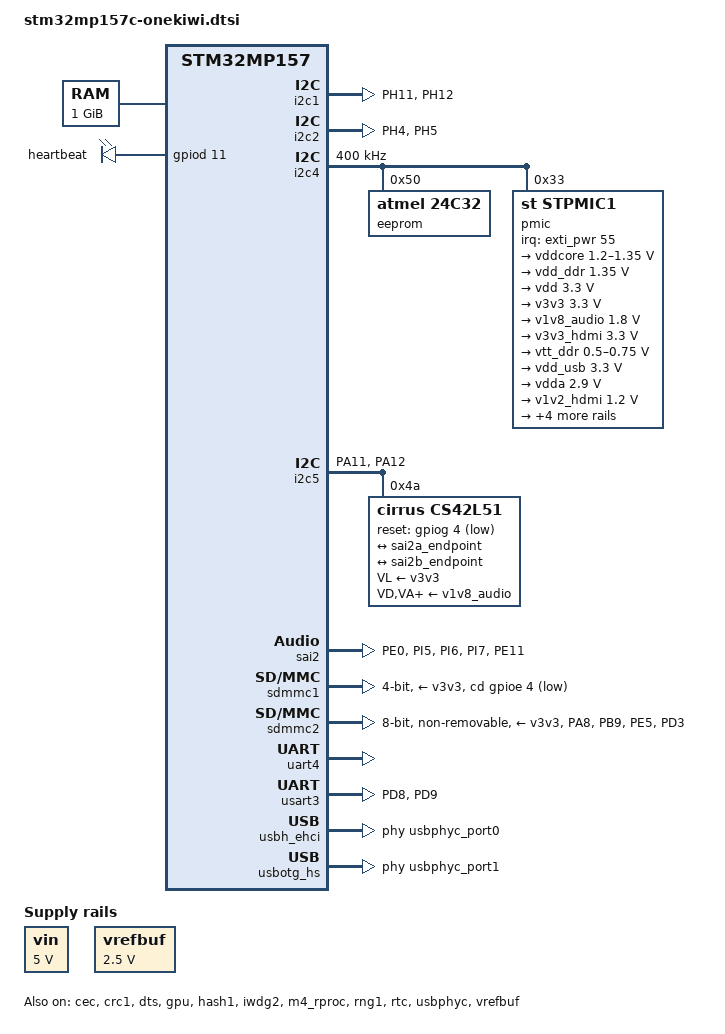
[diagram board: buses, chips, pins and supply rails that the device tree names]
// SPDX-License-Identifier: (GPL-2.0+ OR BSD-3-Clause)
/*
 * Copyright (C) STMicroelectronics 2019 - All Rights Reserved
 * Author: Alexandre Torgue <alexandre.torgue@st.com> for STMicroelectronics.
 */

#include "stm32mp157-m4-srm.dtsi"
#include "stm32mp157-m4-srm-pinctrl.dtsi"
#include <dt-bindings/mfd/st,stpmic1.h>

/ {
	memory@c0000000 {
		device_type = "memory";
		reg = <0xc0000000 0x40000000>;
	};

	reserved-memory {
		#address-cells = <1>;
		#size-cells = <1>;
		ranges;

		mcuram2: mcuram2@10000000 {
			compatible = "shared-dma-pool";
			reg = <0x10000000 0x40000>;
			no-map;
		};

		vdev0vring0: vdev0vring0@10040000 {
			compatible = "shared-dma-pool";
			reg = <0x10040000 0x1000>;
			no-map;
		};

		vdev0vring1: vdev0vring1@10041000 {
			compatible = "shared-dma-pool";
			reg = <0x10041000 0x1000>;
			no-map;
		};

		vdev0buffer: vdev0buffer@10042000 {
			compatible = "shared-dma-pool";
			reg = <0x10042000 0x4000>;
			no-map;
		};

		mcuram: mcuram@30000000 {
			compatible = "shared-dma-pool";
			reg = <0x30000000 0x40000>;
			no-map;
		};

		retram: retram@38000000 {
			compatible = "shared-dma-pool";
			reg = <0x38000000 0x10000>;
			no-map;
		};
	};

	led {
		compatible = "gpio-leds";
		blue {
			label = "heartbeat";
			gpios = <&gpiod 11 GPIO_ACTIVE_HIGH>;
			linux,default-trigger = "heartbeat";
			default-state = "off";
		};
	};

	sound {
		compatible = "audio-graph-card";
		label = "STM32MP1-DK";
		routing =
			"Playback" , "MCLK",
			"Capture" , "MCLK",
			"MICL" , "Mic Bias";
		dais = <&sai2a_port &sai2b_port>;
		status = "okay";
	};

	usb_phy_tuning: usb-phy-tuning {
		st,hs-dc-level = <2>;
		st,fs-rftime-tuning;
		st,hs-rftime-reduction;
		st,hs-current-trim = <15>;
		st,hs-impedance-trim = <1>;
		st,squelch-level = <3>;
		st,hs-rx-offset = <2>;
		st,no-lsfs-sc;
	};

	vin: vin {
		compatible = "regulator-fixed";
		regulator-name = "vin";
		regulator-min-microvolt = <5000000>;
		regulator-max-microvolt = <5000000>;
		regulator-always-on;
	};
};

&pinctrl {
	u-boot,dm-pre-reloc;

	sdmmc2_d47_mx_b: sdmmc2-d47-mx-1 {
		pins {
			pinmux = <STM32_PINMUX('A', 8, AF9)>, /* SDMMC2_D4 */
				 <STM32_PINMUX('B', 9, AF10)>, /* SDMMC2_D5 */
				 <STM32_PINMUX('E', 5, AF9)>, /* SDMMC2_D6 */
				 <STM32_PINMUX('D', 3, AF9)>; /* SDMMC2_D7 */
			slew-rate = <1>;
			drive-push-pull;
			bias-pull-up;
		};
	};

	sdmmc2_d47_sleep_mx_b: sdmmc2-d47-sleep-mx-1 {
		pins {
			pinmux = <STM32_PINMUX('A', 8, ANALOG)>, /* SDMMC2_D4 */
				 <STM32_PINMUX('B', 9, ANALOG)>, /* SDMMC2_D5 */
				 <STM32_PINMUX('E', 5, ANALOG)>, /* SDMMC2_D6 */
				 <STM32_PINMUX('D', 3, ANALOG)>; /* SDMMC2_D7 */
		};
	};

	sai2a_pins_mx: sai2a_mx-0 {
		pins {
			pinmux = <STM32_PINMUX('E', 0, AF10)>, /* SAI2_MCLK_A */
					 <STM32_PINMUX('I', 5, AF10)>, /* SAI2_SCK_A */
					 <STM32_PINMUX('I', 6, AF10)>, /* SAI2_SD_A */
					 <STM32_PINMUX('I', 7, AF10)>; /* SAI2_FS_A */
			bias-disable;
			drive-push-pull;
			slew-rate = <0>;
		};
	};

	sai2a_sleep_pins_mx: sai2a_sleep_mx-0 {
		pins {
			pinmux = <STM32_PINMUX('E', 0, ANALOG)>, /* SAI2_MCLK_A */
					 <STM32_PINMUX('I', 5, ANALOG)>, /* SAI2_SCK_A */
					 <STM32_PINMUX('I', 6, ANALOG)>, /* SAI2_SD_A */
					 <STM32_PINMUX('I', 7, ANALOG)>; /* SAI2_FS_A */
		};
	};

	sai2b_pins_mx: sai2b_mx-0 {
		pins {
			pinmux = <STM32_PINMUX('E', 11, AF10)>; /* SAI2_SD_B */
			bias-disable;
			drive-push-pull;
			slew-rate = <0>;
		};
	};

	sai2b_sleep_pins_mx: sai2b_sleep_mx-0 {
		pins {
			pinmux = <STM32_PINMUX('E', 11, ANALOG)>; /* SAI2_SD_B */
		};
	};

	i2c1_pins_mx: i2c1-mx-0 {
		pins {
			pinmux = <STM32_PINMUX('H', 11, AF5)>, /* I2C1_SCL */
					 <STM32_PINMUX('H', 12, AF5)>; /* I2C1_SDA */
			bias-disable;
			drive-open-drain;
			slew-rate = <0>;
		};
	};

	i2c1_sleep_pins_mx: i2c1-sleep-mx-0 {
		pins {
			pinmux = <STM32_PINMUX('H', 11, ANALOG)>, /* I2C1_SCL */
					 <STM32_PINMUX('H', 12, ANALOG)>; /* I2C1_SDA */
		};
	};

	i2c2_pins_mx: i2c2-mx-0 {
		pins {
			pinmux = <STM32_PINMUX('H', 4, AF4)>, /* I2C2_SCL */
					 <STM32_PINMUX('H', 5, AF4)>; /* I2C2_SDA */
			bias-disable;
			drive-open-drain;
			slew-rate = <0>;
		};
	};

	i2c2_sleep_pins_mx: i2c2-sleep-mx-0 {
		pins {
			pinmux = <STM32_PINMUX('H', 4, ANALOG)>, /* I2C2_SCL */
					 <STM32_PINMUX('H', 5, ANALOG)>; /* I2C2_SDA */
		};
	};

	i2c5_pins_mx: i2c5_mx-0 {
		u-boot,dm-pre-reloc;
		pins {
			pinmux = <STM32_PINMUX('A', 11, AF4)>, /* I2C1_SCL */
					 <STM32_PINMUX('A', 12, AF4)>; /* I2C1_SDA */
			bias-disable;
			drive-open-drain;
			slew-rate = <0>;
		};
	};

	i2c5_sleep_pins_mx: i2c5_sleep_mx-0 {
		u-boot,dm-pre-reloc;
		pins {
			pinmux = <STM32_PINMUX('A', 11, ANALOG)>, /* I2C1_SCL */
					 <STM32_PINMUX('A', 12, ANALOG)>; /* I2C1_SDA */
		};
	};

	spi6_pins_mx: spi6_mx-0 {
		pins {
			pinmux = <STM32_PINMUX('A', 5, AF8)>, /* SPI6_SCK */
					 <STM32_PINMUX('B', 5, AF8)>, /* SPI6_MOSI */
					 <STM32_PINMUX('G', 12, AF5)>; /* SPI6_MISO */
			bias-disable;
			drive-push-pull;
			slew-rate = <1>;
		};
	};

	spi6_sleep_pins_mx: spi6_sleep_mx-0 {
		pins {
			pinmux = <STM32_PINMUX('A', 5, ANALOG)>, /* SPI6_SCK */
					 <STM32_PINMUX('B', 5, ANALOG)>, /* SPI6_MOSI */
					 <STM32_PINMUX('G', 12, ANALOG)>; /* SPI6_MISO */
		};
	};

	usart3_pins_mx: usart3-mx0 {
		pins1 {
			pinmux = <STM32_PINMUX('D', 8, AF7)>; /* USART3_TX */
			bias-disable;
			drive-push-pull;
			slew-rate = <0>;
		};
		pins2 {
			pinmux = <STM32_PINMUX('D', 9, AF7)>; /* USART3_RX */
			bias-disable;
		};
	};

	usart3_idle_pins_mx: usart3-idle-mx0 {
		pins1 {
			pinmux = <STM32_PINMUX('D', 8, ANALOG)>; /* USART3_TX */
		};
		pins2 {
			pinmux = <STM32_PINMUX('D', 9, AF7)>; /* USART3_RX */
			bias-disable;
		};
	};

	usart3_sleep_pins_mx: usart3-sleep-mx0 {
		pins {
			pinmux = <STM32_PINMUX('D', 8, ANALOG)>, /* USART3_TX */
				 <STM32_PINMUX('D', 9, ANALOG)>; /* USART3_RX */
		};
	};
};

&adc {
	pinctrl-names = "default";
	pinctrl-0 = <&adc12_ain_pins_a>, <&adc12_usb_cc_pins_a>;
	vdd-supply = <&vdd>;
	vdda-supply = <&vdd>;
	vref-supply = <&vrefbuf>;
	status = "disabled";
	adc1: adc@0 {
		/*
		 * Type-C USB_PWR_CC1 & USB_PWR_CC2 on in18 & in19.
		 * Use at least 5 * RC time, e.g. 5 * (Rp + Rd) * C:
		 * 5 * (56 + 47kOhms) * 5pF => 2.5us.
		 * Use arbitrary margin here (e.g. 5us).
		 */
		st,min-sample-time-nsecs = <5000>;
		/* AIN connector, USB Type-C CC1 & CC2 */
		st,adc-channels = <0 1 6 13 18 19>;
		status = "okay";
	};
	adc2: adc@100 {
		/* AIN connector, USB Type-C CC1 & CC2 */
		st,adc-channels = <0 1 2 6 18 19>;
		st,min-sample-time-nsecs = <5000>;
		status = "okay";
	};
};

&cec {
	pinctrl-names = "default", "sleep";
	pinctrl-0 = <&cec_pins_b>;
	pinctrl-1 = <&cec_pins_sleep_b>;
	status = "okay";
};

&cpu0{
	cpu-supply = <&vddcore>;
};

&cpu1{
	cpu-supply = <&vddcore>;
};

&crc1 {
	status = "okay";
};

&dma1 {
	sram = <&dma_pool>;
};

&dma2 {
	sram = <&dma_pool>;
};

&dts {
	status = "okay";
};

&gpu {
	contiguous-area = <&gpu_reserved>;
	status = "okay";
};

&hash1 {
	status = "okay";
};

&i2c1 {
	pinctrl-names = "default", "sleep";
	pinctrl-0 = <&i2c1_pins_mx>;
	pinctrl-1 = <&i2c1_sleep_pins_mx>;
	i2c-scl-rising-time-ns = <100>;
	i2c-scl-falling-time-ns = <7>;
	status = "okay";
	/delete-property/dmas;
	/delete-property/dma-names;

	/*
	radio@11 {
		compatible = "rda,rda5807";
		reg = <0x11>;

		power-supply = <&v3v3>;

		rda,lnan;
		rda,lnap;
		rda,analog-out;
	};*/
};

&i2c2 {
	pinctrl-names = "default", "sleep";
	pinctrl-0 = <&i2c2_pins_mx>;
	pinctrl-1 = <&i2c2_sleep_pins_mx>;
	i2c-scl-rising-time-ns = <100>;
	i2c-scl-falling-time-ns = <7>;
	status = "okay";
	/delete-property/dmas;
	/delete-property/dma-names;
};

&i2c4 {
	pinctrl-names = "default", "sleep";
	pinctrl-0 = <&i2c4_pins_a>;
	pinctrl-1 = <&i2c4_pins_sleep_a>;
	i2c-scl-rising-time-ns = <185>;
	i2c-scl-falling-time-ns = <20>;
	clock-frequency = <400000>;
	status = "okay";
	/* spare dmas for other usage */
	/delete-property/dmas;
	/delete-property/dma-names;

	eeprom@50 {
		compatible = "atmel,24c32";
		reg = <0x50>;
		pagesize = <32>;
	};
	
	pmic: stpmic@33 {
		compatible = "st,stpmic1";
		reg = <0x33>;
		interrupts-extended = <&exti_pwr 55 IRQ_TYPE_EDGE_FALLING>;
		interrupt-controller;
		#interrupt-cells = <2>;
		status = "okay";

		regulators {
			compatible = "st,stpmic1-regulators";
			buck1-supply = <&vin>;
			buck2-supply = <&vin>;
			buck3-supply = <&vin>;
			buck4-supply = <&vin>;
			ldo1-supply = <&v3v3>;
			ldo2-supply = <&vin>;
			ldo3-supply = <&vdd_ddr>;
			ldo4-supply = <&vin>;
			ldo5-supply = <&vin>;
			ldo6-supply = <&v3v3>;
			vref_ddr-supply = <&vin>;
			boost-supply = <&vin>;
			pwr_sw1-supply = <&bst_out>;
			pwr_sw2-supply = <&bst_out>;

			vddcore: buck1 {
				regulator-name = "vddcore";
				regulator-min-microvolt = <1200000>;
				regulator-max-microvolt = <1350000>;
				regulator-always-on;
				regulator-initial-mode = <0>;
				regulator-over-current-protection;
			};

			vdd_ddr: buck2 {
				regulator-name = "vdd_ddr";
				regulator-min-microvolt = <1350000>;
				regulator-max-microvolt = <1350000>;
				regulator-always-on;
				regulator-initial-mode = <0>;
				regulator-over-current-protection;
			};

			vdd: buck3 {
				regulator-name = "vdd";
				regulator-min-microvolt = <3300000>;
				regulator-max-microvolt = <3300000>;
				regulator-always-on;
				st,mask-reset;
				regulator-initial-mode = <0>;
				regulator-over-current-protection;
			};

			v3v3: buck4 {
				regulator-name = "v3v3";
				regulator-min-microvolt = <3300000>;
				regulator-max-microvolt = <3300000>;
				regulator-always-on;
				regulator-over-current-protection;
				regulator-initial-mode = <0>;
			};

			v1v8_audio: ldo1 {
				regulator-name = "v1v8_audio";
				regulator-min-microvolt = <1800000>;
				regulator-max-microvolt = <1800000>;
				regulator-always-on;
				interrupts = <IT_CURLIM_LDO1 0>;
			};

			v3v3_hdmi: ldo2 {
				regulator-name = "v3v3_hdmi";
				regulator-min-microvolt = <3300000>;
				regulator-max-microvolt = <3300000>;
				regulator-always-on;
				interrupts = <IT_CURLIM_LDO2 0>;
			};

			vtt_ddr: ldo3 {
				regulator-name = "vtt_ddr";
				regulator-min-microvolt = <500000>;
				regulator-max-microvolt = <750000>;
				regulator-always-on;
				regulator-over-current-protection;
			};

			vdd_usb: ldo4 {
				regulator-name = "vdd_usb";
				regulator-min-microvolt = <3300000>;
				regulator-max-microvolt = <3300000>;
				interrupts = <IT_CURLIM_LDO4 0>;
				regulator-always-on;
			};

			vdda: ldo5 {
				regulator-name = "vdda";
				regulator-min-microvolt = <2900000>;
				regulator-max-microvolt = <2900000>;
				interrupts = <IT_CURLIM_LDO5 0>;
				regulator-boot-on;
			};

			v1v2_hdmi: ldo6 {
				regulator-name = "v1v2_hdmi";
				regulator-min-microvolt = <1200000>;
				regulator-max-microvolt = <1200000>;
				regulator-always-on;
				interrupts = <IT_CURLIM_LDO6 0>;
			};

			vref_ddr: vref_ddr {
				regulator-name = "vref_ddr";
				regulator-always-on;
				regulator-over-current-protection;
			};

			 bst_out: boost {
				regulator-name = "bst_out";
				interrupts = <IT_OCP_BOOST 0>;
			 };

			vbus_otg: pwr_sw1 {
				regulator-name = "vbus_otg";
				interrupts = <IT_OCP_OTG 0>;
			 };

			 vbus_sw: pwr_sw2 {
				regulator-name = "vbus_sw";
				interrupts = <IT_OCP_SWOUT 0>;
				regulator-active-discharge = <1>;
			 };
		};

		onkey {
			compatible = "st,stpmic1-onkey";
			interrupts = <IT_PONKEY_F 0>, <IT_PONKEY_R 0>;
			interrupt-names = "onkey-falling", "onkey-rising";
			power-off-time-sec = <10>;
			status = "okay";
		};

		watchdog {
			compatible = "st,stpmic1-wdt";
			status = "disabled";
		};
	};
};

&i2c5 {
	pinctrl-names = "default", "sleep";
	pinctrl-0 = <&i2c5_pins_mx>;
	pinctrl-1 = <&i2c5_sleep_pins_mx>;
	i2c-scl-rising-time-ns = <100>;
	i2c-scl-falling-time-ns = <7>;
	status = "okay";
	/delete-property/dmas;
	/delete-property/dma-names;

	cs42l51: cs42l51@4a {
		compatible = "cirrus,cs42l51";
		reg = <0x4a>;
		#sound-dai-cells = <0>;
		VL-supply = <&v3v3>;
		VD-supply = <&v1v8_audio>;
		VA-supply = <&v1v8_audio>;
		VAHP-supply = <&v1v8_audio>;
		reset-gpios = <&gpiog 4 GPIO_ACTIVE_LOW>;
		clocks = <&sai2a>;
		clock-names = "MCLK";
		status = "okay";

		cs42l51_port: port {
			#address-cells = <1>;
			#size-cells = <0>;

			cs42l51_tx_endpoint: endpoint@0 {
				reg = <0>;
				remote-endpoint = <&sai2a_endpoint>;
				frame-master;
				bitclock-master;
			};

			cs42l51_rx_endpoint: endpoint@1 {
				reg = <1>;
				remote-endpoint = <&sai2b_endpoint>;
				frame-master;
				bitclock-master;
			};
		};
	};
};

&ipcc {
	status = "okay";
};

&iwdg2 {
	timeout-sec = <32>;
	status = "okay";
};

&m4_rproc {
	memory-region = <&retram>, <&mcuram>, <&mcuram2>, <&vdev0vring0>,
			<&vdev0vring1>, <&vdev0buffer>;
	mboxes = <&ipcc 0>, <&ipcc 1>, <&ipcc 2>;
	mbox-names = "vq0", "vq1", "shutdown";
	interrupt-parent = <&exti>;
	interrupts = <68 1>;
	wakeup-source;
	status = "okay";
};

&pwr_regulators {
	vdd-supply = <&vdd>;
	vdd_3v3_usbfs-supply = <&vdd_usb>;
};

&rng1 {
	status = "okay";
};

&rtc {
	status = "okay";
};

&sai2 {
	clocks = <&rcc SAI2>, <&rcc PLL3_Q>, <&rcc PLL3_R>;
	clock-names = "pclk", "x8k", "x11k";
	pinctrl-names = "default", "sleep";
	pinctrl-0 = <&sai2a_pins_mx>, <&sai2b_pins_mx>;
	pinctrl-1 = <&sai2a_sleep_pins_mx>, <&sai2b_sleep_pins_mx>;
	status = "okay";

	sai2a: audio-controller@4400b004 {
		#clock-cells = <0>;
		dma-names = "tx";
		clocks = <&rcc SAI2_K>;
		clock-names = "sai_ck";
		status = "okay";

		sai2a_port: port {
			sai2a_endpoint: endpoint {
				remote-endpoint = <&cs42l51_tx_endpoint>;
				format = "i2s";
				mclk-fs = <256>;
				dai-tdm-slot-num = <2>;
				dai-tdm-slot-width = <32>;
			};
		};
	};

	sai2b: audio-controller@4400b024 {
		dma-names = "rx";
		st,sync = <&sai2a 2>;
		clocks = <&rcc SAI2_K>, <&sai2a>;
		clock-names = "sai_ck", "MCLK";
		status = "okay";

		sai2b_port: port {
			sai2b_endpoint: endpoint {
				remote-endpoint = <&cs42l51_rx_endpoint>;
				format = "i2s";
				mclk-fs = <256>;
				dai-tdm-slot-num = <2>;
				dai-tdm-slot-width = <32>;
			};
		};
	};
};

&sdmmc1 {
	pinctrl-names = "default", "opendrain", "sleep";
	pinctrl-0 = <&sdmmc1_b4_pins_a>;
	pinctrl-1 = <&sdmmc1_b4_od_pins_a>;
	pinctrl-2 = <&sdmmc1_b4_sleep_pins_a>;
	cd-gpios = <&gpioe 4 (GPIO_ACTIVE_LOW | GPIO_PULL_UP)>;
	disable-wp;
	st,neg-edge;
	bus-width = <4>;
	vmmc-supply = <&v3v3>;
	status = "okay";
};

&sdmmc2 {
	pinctrl-names = "default", "opendrain", "sleep";
	pinctrl-0 = <&sdmmc2_b4_pins_a &sdmmc2_d47_mx_b>;
	pinctrl-1 = <&sdmmc2_b4_od_pins_a &sdmmc2_d47_mx_b>;
	pinctrl-2 = <&sdmmc2_b4_sleep_pins_a &sdmmc2_d47_sleep_mx_b>;
	non-removable;
	no-sd;
	no-sdio;
	st,neg-edge;
	bus-width = <8>;
	vmmc-supply = <&v3v3>;
	vqmmc-supply = <&vdd>;
	mmc-ddr-3_3v;
	status = "okay";
};

&sram {
	dma_pool: dma_pool@0 {
		reg = <0x50000 0x10000>;
		pool;
	};
};

&timers1 {
	/* spare dmas for other usage */
	/delete-property/dmas;
	/delete-property/dma-names;
	status = "disabled";
	pwm {
		pinctrl-0 = <&pwm1_pins_a>;
		pinctrl-1 = <&pwm1_sleep_pins_a>;
		pinctrl-names = "default", "sleep";
		status = "okay";
	};
	timer@0 {
		status = "okay";
	};
};

&timers3 {
	/delete-property/dmas;
	/delete-property/dma-names;
	status = "disabled";
	pwm {
		pinctrl-0 = <&pwm3_pins_a>;
		pinctrl-1 = <&pwm3_sleep_pins_a>;
		pinctrl-names = "default", "sleep";
		status = "okay";
	};
	timer@2 {
		status = "okay";
	};
};

&timers4 {
	/delete-property/dmas;
	/delete-property/dma-names;
	status = "disabled";
	pwm {
		pinctrl-0 = <&pwm4_pins_a &pwm4_pins_b>;
		pinctrl-1 = <&pwm4_sleep_pins_a &pwm4_sleep_pins_b>;
		pinctrl-names = "default", "sleep";
		status = "okay";
	};
	timer@3 {
		status = "okay";
	};
};

/*
&timers5 {
	/delete-property/dmas;
	/delete-property/dma-names;
	status = "disabled";
	timer@4 {
		status = "okay";
	};
};*/

&timers6 {
	/delete-property/dmas;
	/delete-property/dma-names;
	status = "disabled";
	timer@5 {
		status = "okay";
	};
};

&timers12 {
	/delete-property/dmas;
	/delete-property/dma-names;
	status = "disabled";
	pwm {
		pinctrl-0 = <&pwm12_pins_a>;
		pinctrl-1 = <&pwm12_sleep_pins_a>;
		pinctrl-names = "default", "sleep";
		status = "okay";
	};
	timer@11 {
		status = "okay";
	};
};

&uart4 {
	pinctrl-names = "default", "sleep", "idle";
	pinctrl-0 = <&uart4_pins_a>;
	pinctrl-1 = <&uart4_sleep_pins_a>;
	pinctrl-2 = <&uart4_idle_pins_a>;
	pinctrl-3 = <&uart4_pins_a>;
	/delete-property/dmas;
	/delete-property/dma-names;
	status = "okay";
};

&usart3 {
	pinctrl-names = "default", "sleep", "idle";
	pinctrl-0 = <&usart3_pins_mx>;
	pinctrl-1 = <&usart3_sleep_pins_mx>;
	pinctrl-2 = <&usart3_idle_pins_mx>;
	status = "okay";
};

&usbh_ehci {
	phys = <&usbphyc_port0>;
	status = "okay";
};

&usbotg_hs {
	phys = <&usbphyc_port1 1>;
	phy-names = "usb2-phy";
	usb-role-switch;
	status = "okay";
};

&usbphyc {
	status = "okay";
};

&usbphyc_port0 {
	phy-supply = <&vdd_usb>;
	st,phy-tuning = <&usb_phy_tuning>;
};

&usbphyc_port1 {
	phy-supply = <&vdd_usb>;
	st,phy-tuning = <&usb_phy_tuning>;
};

&vrefbuf {
	regulator-min-microvolt = <2500000>;
	regulator-max-microvolt = <2500000>;
	vdda-supply = <&vdd>;
	status = "okay";
};
